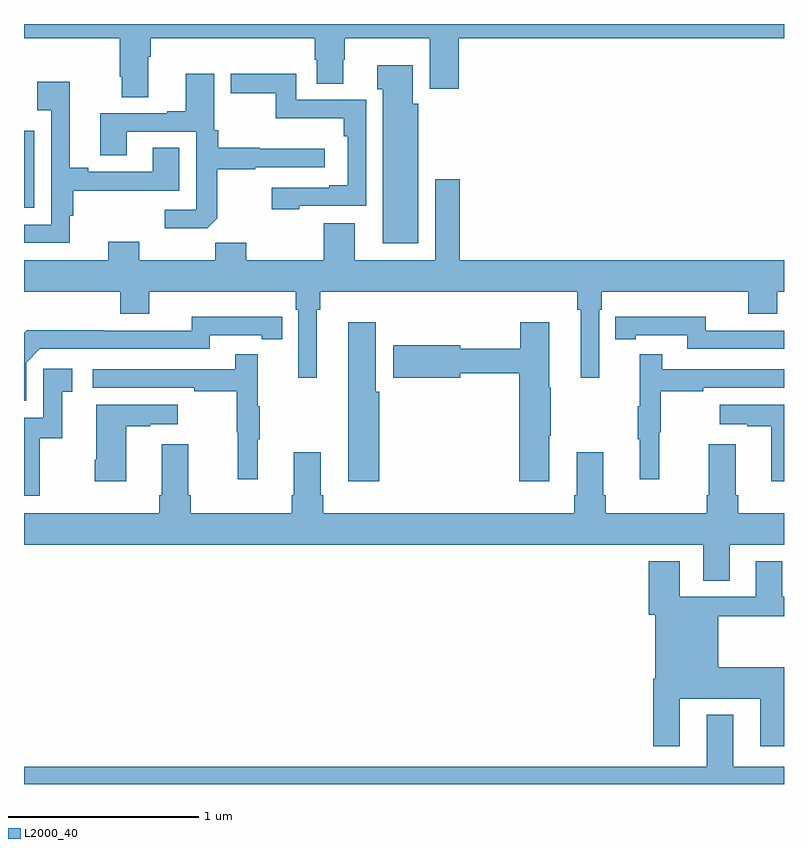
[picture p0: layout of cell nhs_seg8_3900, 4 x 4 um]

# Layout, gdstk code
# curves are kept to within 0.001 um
import gdstk
lib = gdstk.Library(unit=1e-6, precision=1e-09)
def R(c, l, rs):  # rectangles x0, y0, x1, y1
    for r in rs: c.add(gdstk.rectangle(r[:2], r[2:], *l))
def P(c, l, *ps):  # polygons
    for p in ps: c.add(gdstk.Polygon(p, *l))
L2000_40 = (2000, 40)

nhs_seg8_3900 = lib.new_cell('nhs_seg8_3900')
R(nhs_seg8_3900, L2000_40, [(351,1124.934,351.054,1125.337)])
P(nhs_seg8_3900, L2000_40, [(352.529,1125.711),(352.541,1125.711),(352.541,1125.586),(352.681,1125.586),(352.681,1125.711),(352.689,1125.711),(352.689,1125.824),(353.135,1125.824),(353.135,1125.558),(353.288,1125.558),(353.288,1125.824),(355,1125.824),(355,1125.9),(351,1125.9),(351,1125.824),(351.503,1125.824),(351.503,1125.622),(351.515,1125.622),(351.515,1125.514),(351.655,1125.514),(351.655,1125.728),(351.668,1125.728),(351.668,1125.824),(352.529,1125.824)],
  [(353.074,1125.48),(353.047,1125.48),(353.047,1125.682),(352.859,1125.682),(352.859,1125.557),(352.889,1125.557),(352.889,1124.747),(353.074,1124.747)],
  [(352.449,1124.943),(352.8,1124.943),(352.8,1125.501),(352.434,1125.501),(352.434,1125.638),(352.089,1125.638),(352.089,1125.535),(352.326,1125.535),(352.326,1125.404),(352.684,1125.404),(352.684,1125.308),(352.704,1125.308),(352.704,1125.052),(352.607,1125.052),(352.607,1125.039),(352.305,1125.039),(352.305,1124.924),(352.449,1124.924)],
  [(352.017,1124.877),(352.017,1125.135),(352.217,1125.135),(352.217,1125.147),(352.582,1125.147),(352.582,1125.244),(352.241,1125.244),(352.241,1125.248),(352.022,1125.248),(352.022,1125.34),(352.002,1125.34),(352.002,1125.637),(351.851,1125.637),(351.851,1125.442),(351.755,1125.442),(351.755,1125.429),(351.401,1125.429),(351.401,1125.208),(351.541,1125.208),(351.541,1125.333),(351.906,1125.333),(351.906,1124.922),(351.741,1124.922),(351.741,1124.826),(351.965,1124.826)],
  [(351.242,1124.891),(351.26,1124.891),(351.26,1125.022),(351.817,1125.022),(351.817,1125.248),(351.677,1125.248),(351.677,1125.123),(351.337,1125.123),(351.337,1125.143),(351.241,1125.143),(351.241,1125.595),(351.069,1125.595),(351.069,1125.446),(351.144,1125.446),(351.144,1124.844),(351,1124.844),(351,1124.748),(351.242,1124.748)],
  [(353.294,1125.082),(353.165,1125.082),(353.165,1124.656),(352.741,1124.656),(352.741,1124.851),(352.577,1124.851),(352.577,1124.656),(352.171,1124.656),(352.171,1124.749),(352.007,1124.749),(352.007,1124.656),(351.607,1124.656),(351.607,1124.755),(351.443,1124.755),(351.443,1124.656),(351,1124.656),(351,1124.492),(351.506,1124.492),(351.506,1124.375),(351.658,1124.375),(351.658,1124.492),(352.43,1124.492),(352.43,1124.396),(352.443,1124.396),(352.443,1124.037),(352.54,1124.037),(352.54,1124.396),(352.559,1124.396),(352.559,1124.492),(353.911,1124.492),(353.911,1124.396),(353.93,1124.396),(353.93,1124.037),(354.027,1124.037),(354.027,1124.396),(354.041,1124.396),(354.041,1124.492),(354.812,1124.492),(354.812,1124.375),(354.965,1124.375),(354.965,1124.492),(355,1124.492),(355,1124.656),(353.294,1124.656)],
  [(355,1124.286),(354.588,1124.286),(354.588,1124.359),(354.22,1124.359),(354.22,1124.358),(354.112,1124.358),(354.112,1124.242),(354.22,1124.242),(354.22,1124.262),(354.492,1124.262),(354.492,1124.19),(355,1124.19)],
  [(351.012,1124.118),(351.084,1124.19),(351.978,1124.19),(351.978,1124.262),(352.25,1124.262),(352.25,1124.242),(352.358,1124.242),(352.358,1124.358),(351.882,1124.359),(351.882,1124.286),(351.422,1124.286),(351.422,1124.288),(351.014,1124.288),(351,1124.274),(351,1123.917),(351.012,1123.917)],
  [(352.87,1123.965),(352.852,1123.965),(352.852,1124.329),(352.706,1124.329),(352.706,1123.494),(352.87,1123.494)],
  [(353.764,1123.732),(353.772,1123.732),(353.772,1123.985),(353.764,1123.985),(353.764,1124.329),(353.611,1124.329),(353.611,1124.191),(353.296,1124.191),(353.296,1124.209),(352.944,1124.209),(352.944,1124.039),(353.296,1124.039),(353.296,1124.062),(353.606,1124.062),(353.606,1123.494),(353.764,1123.494)],
  [(354.344,1123.752),(354.352,1123.752),(354.352,1123.966),(354.575,1123.966),(354.575,1123.986),(355,1123.986),(355,1124.082),(354.359,1124.082),(354.359,1124.161),(354.242,1124.161),(354.242,1123.889),(354.231,1123.889),(354.231,1123.715),(354.242,1123.715),(354.242,1123.503),(354.344,1123.503)],
  [(352.229,1123.715),(352.24,1123.715),(352.24,1123.889),(352.229,1123.889),(352.229,1124.161),(352.111,1124.161),(352.111,1124.082),(351.363,1124.082),(351.363,1123.986),(351.895,1123.986),(351.895,1123.966),(352.119,1123.966),(352.119,1123.752),(352.126,1123.752),(352.126,1123.503),(352.229,1123.503)],
  [(351.082,1123.719),(351.2,1123.719),(351.2,1123.965),(351.253,1123.965),(351.253,1124.086),(351.102,1124.086),(351.102,1123.827),(351,1123.827),(351,1123.416),(351.082,1123.416)],
  [(351.538,1123.783),(351.665,1123.783),(351.665,1123.793),(351.808,1123.793),(351.808,1123.897),(351.38,1123.897),(351.38,1123.606),(351.373,1123.606),(351.373,1123.494),(351.538,1123.494)],
  [(355,1123.897),(354.663,1123.897),(354.663,1123.793),(354.806,1123.793),(354.806,1123.783),(354.932,1123.783),(354.932,1123.494),(355,1123.494)],
  [(354.715,1123.16),(355,1123.16),(355,1123.324),(354.758,1123.324),(354.758,1123.42),(354.745,1123.42),(354.745,1123.687),(354.605,1123.687),(354.605,1123.42),(354.593,1123.42),(354.593,1123.324),(354.062,1123.324),(354.062,1123.42),(354.049,1123.42),(354.049,1123.645),(353.909,1123.645),(353.909,1123.42),(353.897,1123.42),(353.897,1123.324),(352.574,1123.324),(352.574,1123.42),(352.561,1123.42),(352.561,1123.645),(352.421,1123.645),(352.421,1123.42),(352.409,1123.42),(352.409,1123.324),(351.878,1123.324),(351.878,1123.42),(351.865,1123.42),(351.865,1123.687),(351.725,1123.687),(351.725,1123.42),(351.713,1123.42),(351.713,1123.324),(351,1123.324),(351,1123.16),(354.575,1123.16),(354.575,1122.97),(354.715,1122.97)],
  [(354.451,1122.35),(354.875,1122.35),(354.875,1122.099),(355,1122.099),(355,1122.514),(354.655,1122.514),(354.655,1122.784),(355,1122.784),(355,1122.885),(354.991,1122.885),(354.991,1123.072),(354.851,1123.072),(354.851,1122.885),(354.451,1122.885),(354.451,1123.072),(354.287,1123.072),(354.287,1122.792),(354.323,1122.792),(354.323,1122.454),(354.311,1122.454),(354.311,1122.099),(354.451,1122.099)],
  [(355,1121.992),(354.733,1121.992),(354.733,1122.265),(354.593,1122.265),(354.593,1121.992),(351,1121.992),(351,1121.9),(355,1121.9)])

lib.write_gds('nhs_seg8_3900.gds')
